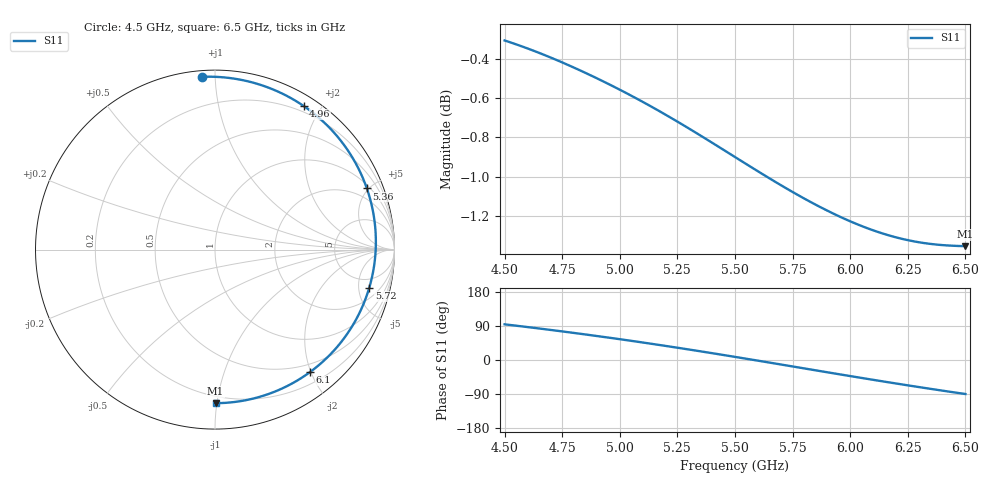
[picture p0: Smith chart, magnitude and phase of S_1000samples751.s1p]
! TOUCHSTONE file generated by CST MICROWAVE STUDIO
! Date and time: Sat Oct 29 06:28:58 2022
! Project name: L.cst
! Parameters = {Di=1.27; Epsilon_r=1.56; InnerDiameter=1.27; Length=2; Lf=10; Lg=60; OuterConductorThickness=0.2921; OuterDiameter=3.6; Wf=3; Wp=41.2; de=1.5; df=6.8; g=0.8; gx=3.96901; gy=3.26281; h=2.34; hf=1.524; px=9.35023; py=9.08404; w=9.7; wx=5.38122; wy=5.82123}
! Header version: 2018
! Port assignment regex: !\s*Touchstone port\s*([0-9]+)\s*=\s*(CST MWS port|CST DS port)\s*([0-9]+|Zmin|Zmax)\s*\(\"(.*)\"\)(\s*mode\s*([0-9]+))?.*
! Touchstone port assignment:
! Touchstone port 1 = CST MWS port 1 ("")
# GHz S DB R 50
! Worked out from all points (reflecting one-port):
!   101 points, 4.5 GHz to 6.5 GHz, reference 50 ohm
!   lowest |S11| = -1.4 dB at 6.5 GHz (marker M1), VSWR 12.85, Z = 7.76 - j49.6 ohm
!   phase of S11 starts at 94 deg and turns -184 deg over the sweep
!   S11 on the Smith chart (normalised r, x): 4.5 GHz: 0.03, +0.93; 4.96 GHz: 0.13, +1.79; 5.36 GHz: 1.20, +4.87; 5.72 GHz: 3.30, -6.52; 6.1 GHz: 0.37, -1.98; 6.5 GHz: 0.16, -0.99
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4.5  -0.31 94.1
4.58  -0.34 88.3
4.64  -0.37 83.9
4.76  -0.42 74.6
4.86  -0.48 66.6
4.96  -0.53 58.3
5  -0.56 54.9
5.12  -0.63 44.3
5.2  -0.69 37.1
5.26  -0.73 31.5
5.36  -0.80 21.9
5.44  -0.86 14.2
5.5  -0.90 8.2
5.6  -0.97 -1.8
5.66  -1.02 -7.9
5.72  -1.06 -14.0
5.76  -1.09 -18.1
5.82  -1.12 -24.2
5.88  -1.16 -30.3
5.94  -1.20 -36.4
6  -1.23 -42.4
6.1  -1.27 -52.3
6.18  -1.30 -60.2
6.26  -1.33 -67.8
6.32  -1.34 -73.5
6.38  -1.35 -79.0
6.44  -1.35 -84.4
6.5  -1.35 -89.8
